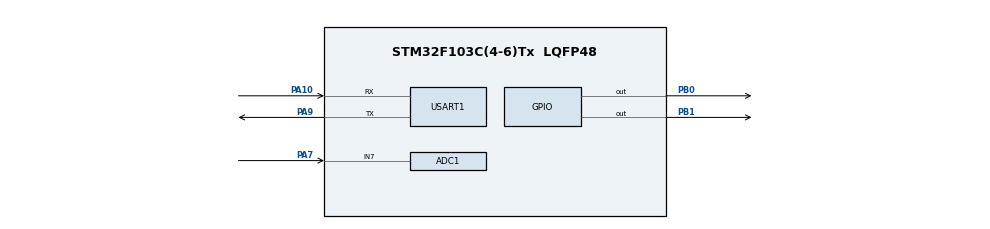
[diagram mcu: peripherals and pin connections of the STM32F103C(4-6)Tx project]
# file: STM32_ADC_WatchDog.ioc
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ADC1.AWD1HighThreshold=4000
ADC1.AWD1ITMode=ENABLE
ADC1.AWD1LowThreshold=500
ADC1.Channel-0\#ChannelRegularConversion=ADC_CHANNEL_7
ADC1.ContinuousConvMode=ENABLE
ADC1.EnableAnalogWatchDog=true
ADC1.NbrOfConversionFlag=1
ADC1.Rank-0\#ChannelRegularConversion=1
ADC1.SamplingTime-0\#ChannelRegularConversion=ADC_SAMPLETIME_1CYCLE_5
ADC1.WatchdogChannel=ADC_CHANNEL_7
ADC1.master=1
Mcu.Family=STM32F1
Mcu.Name=STM32F103C(4-6)Tx
Mcu.Package=LQFP48
NVIC.ADC1_2_IRQn=true\:0\:0\:false\:false\:true\:true\:true
NVIC.PriorityGroup=NVIC_PRIORITYGROUP_4
NVIC.USART1_IRQn=true\:0\:0\:false\:false\:true\:true\:true
PA10.Mode=Asynchronous
PA10.Signal=USART1_RX
PA7.Signal=ADCx_IN7
PA9.Mode=Asynchronous
PA9.Signal=USART1_TX
PB0.Signal=GPIO_Output
PB1.Signal=GPIO_Output
ProjectManager.HeapSize=0x200
ProjectManager.StackSize=0x400
ProjectManager.TargetToolchain=STM32CubeIDE
RCC.APB1Freq_Value=8000000
RCC.APB2Freq_Value=8000000
SH.ADCx_IN7.0=ADC1_IN7,IN7
USART1.VirtualMode=VM_ASYNC
VP_SYS_VS_ND.Mode=No_Debug
board=custom

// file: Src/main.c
/* USER CODE BEGIN Header */
/**
  ******************************************************************************
  * @file           : main.c
  * @brief          : Main program body
  ******************************************************************************
  * @attention
  *
  * <h2><center>&copy; Copyright (c) 2023 STMicroelectronics.
  * All rights reserved.</center></h2>
  *
  * This software component is licensed by ST under BSD 3-Clause license,
  * the "License"; You may not use this file except in compliance with the
  * License. You may obtain a copy of the License at:
  *                        opensource.org/licenses/BSD-3-Clause
  *
  ******************************************************************************
  */
/* USER CODE END Header */

#include "main.h"

ADC_HandleTypeDef hadc1;

UART_HandleTypeDef huart1;

void SystemClock_Config(void);
static void MX_GPIO_Init(void);
static void MX_ADC1_Init(void);
static void MX_USART1_UART_Init(void);

/* USER CODE BEGIN 0 */
uint32_t ADC_VAL = 0;
uint8_t MSG[20];
uint8_t MSG2[50]="ERREUR YOUR ADC VAL IS > 4000 \n\r";
uint8_t MSG3[50]="ERREUR YOUR ADC VAL IS < 500 \n\r";

void HAL_ADC_LevelOutOfWindowCallback(ADC_HandleTypeDef* hadc)
{
  ADC_VAL = HAL_ADC_GetValue(&hadc1);
  if(ADC_VAL>3990) //4000)
  {
    HAL_UART_Transmit_IT(&huart1, MSG2, sizeof(MSG2));
  }
  else
    HAL_UART_Transmit_IT(&huart1, MSG3, sizeof(MSG3));
  HAL_GPIO_WritePin(GPIOB, GPIO_PIN_0, 0);
  HAL_GPIO_WritePin(GPIOB, GPIO_PIN_1, 1);

}
/* USER CODE END 0 */

int main(void)
{

  /* MCU Configuration--------------------------------------------------------*/

  /* Reset of all peripherals, Initializes the Flash interface and the Systick. */
  HAL_Init();

  /* Configure the system clock */
  SystemClock_Config();

  /* Initialize all configured peripherals */
  MX_GPIO_Init();
  MX_ADC1_Init();
  MX_USART1_UART_Init();
  /* USER CODE BEGIN 2 */
if(HAL_ADC_Start(&hadc1)!=HAL_OK)
{
  Error_Handler();
}
  /* USER CODE END 2 */

  /* Infinite loop */
  while (1)
  {

    /* USER CODE BEGIN 3 */
    while(HAL_ADC_PollForConversion(&hadc1, 2)!=HAL_OK)
    {
      Error_Handler();
    }
    ADC_VAL = HAL_ADC_GetValue(&hadc1);
    sprintf(MSG,"ADC VAL = %u\n\r",ADC_VAL);
    HAL_UART_Transmit_IT(&huart1, MSG, sizeof(MSG));
    HAL_GPIO_WritePin(GPIOB, GPIO_PIN_1, 0);
    HAL_GPIO_TogglePin(GPIOB, GPIO_PIN_0);
    HAL_Delay(1000);

  }
  /* USER CODE END 3 */
}

void SystemClock_Config(void)
{
  RCC_OscInitTypeDef RCC_OscInitStruct = {0};
  RCC_ClkInitTypeDef RCC_ClkInitStruct = {0};
  RCC_PeriphCLKInitTypeDef PeriphClkInit = {0};

  /** Initializes the CPU, AHB and APB busses clocks
  */
  RCC_OscInitStruct.OscillatorType = RCC_OSCILLATORTYPE_HSI;
  RCC_OscInitStruct.HSIState = RCC_HSI_ON;
  RCC_OscInitStruct.HSICalibrationValue = RCC_HSICALIBRATION_DEFAULT;
  RCC_OscInitStruct.PLL.PLLState = RCC_PLL_NONE;
  if (HAL_RCC_OscConfig(&RCC_OscInitStruct) != HAL_OK)
  {
    Error_Handler();
  }
  /** Initializes the CPU, AHB and APB busses clocks
  */
  RCC_ClkInitStruct.ClockType = RCC_CLOCKTYPE_HCLK|RCC_CLOCKTYPE_SYSCLK
                              |RCC_CLOCKTYPE_PCLK1|RCC_CLOCKTYPE_PCLK2;
  RCC_ClkInitStruct.SYSCLKSource = RCC_SYSCLKSOURCE_HSI;
  RCC_ClkInitStruct.AHBCLKDivider = RCC_SYSCLK_DIV1;
  RCC_ClkInitStruct.APB1CLKDivider = RCC_HCLK_DIV1;
  RCC_ClkInitStruct.APB2CLKDivider = RCC_HCLK_DIV1;

  if (HAL_RCC_ClockConfig(&RCC_ClkInitStruct, FLASH_LATENCY_0) != HAL_OK)
  {
    Error_Handler();
  }
  PeriphClkInit.PeriphClockSelection = RCC_PERIPHCLK_ADC;
  PeriphClkInit.AdcClockSelection = RCC_ADCPCLK2_DIV2;
  if (HAL_RCCEx_PeriphCLKConfig(&PeriphClkInit) != HAL_OK)
  {
    Error_Handler();
  }
}

static void MX_ADC1_Init(void)
{

  ADC_AnalogWDGConfTypeDef AnalogWDGConfig = {0};
  ADC_ChannelConfTypeDef sConfig = {0};

  /** Common config
  */
  hadc1.Instance = ADC1;
  hadc1.Init.ScanConvMode = ADC_SCAN_DISABLE;
  hadc1.Init.ContinuousConvMode = ENABLE;
  hadc1.Init.DiscontinuousConvMode = DISABLE;
  hadc1.Init.ExternalTrigConv = ADC_SOFTWARE_START;
  hadc1.Init.DataAlign = ADC_DATAALIGN_RIGHT;
  hadc1.Init.NbrOfConversion = 1;
  if (HAL_ADC_Init(&hadc1) != HAL_OK)
  {
    Error_Handler();
  }
  /** Configure Analog WatchDog 1
  */
  AnalogWDGConfig.WatchdogMode = ADC_ANALOGWATCHDOG_SINGLE_REG;
  AnalogWDGConfig.HighThreshold = 4000;
  AnalogWDGConfig.LowThreshold = 500;
  AnalogWDGConfig.Channel = ADC_CHANNEL_7;
  AnalogWDGConfig.ITMode = ENABLE;
  if (HAL_ADC_AnalogWDGConfig(&hadc1, &AnalogWDGConfig) != HAL_OK)
  {
    Error_Handler();
  }
  /** Configure Regular Channel
  */
  sConfig.Channel = ADC_CHANNEL_7;
  sConfig.Rank = ADC_REGULAR_RANK_1;
  sConfig.SamplingTime = ADC_SAMPLETIME_1CYCLE_5;
  if (HAL_ADC_ConfigChannel(&hadc1, &sConfig) != HAL_OK)
  {
    Error_Handler();
  }

}

static void MX_USART1_UART_Init(void)
{

  huart1.Instance = USART1;
  huart1.Init.BaudRate = 115200;
  huart1.Init.WordLength = UART_WORDLENGTH_8B;
  huart1.Init.StopBits = UART_STOPBITS_1;
  huart1.Init.Parity = UART_PARITY_NONE;
  huart1.Init.Mode = UART_MODE_TX_RX;
  huart1.Init.HwFlowCtl = UART_HWCONTROL_NONE;
  huart1.Init.OverSampling = UART_OVERSAMPLING_16;
  if (HAL_UART_Init(&huart1) != HAL_OK)
  {
    Error_Handler();
  }

}

static void MX_GPIO_Init(void)
{
  GPIO_InitTypeDef GPIO_InitStruct = {0};

  /* GPIO Ports Clock Enable */
  __HAL_RCC_GPIOA_CLK_ENABLE();
  __HAL_RCC_GPIOB_CLK_ENABLE();

  /*Configure GPIO pin Output Level */
  HAL_GPIO_WritePin(GPIOB, GPIO_PIN_0|GPIO_PIN_1, GPIO_PIN_RESET);

  /*Configure GPIO pins : PB0 PB1 */
  GPIO_InitStruct.Pin = GPIO_PIN_0|GPIO_PIN_1;
  GPIO_InitStruct.Mode = GPIO_MODE_OUTPUT_PP;
  GPIO_InitStruct.Pull = GPIO_NOPULL;
  GPIO_InitStruct.Speed = GPIO_SPEED_FREQ_LOW;
  HAL_GPIO_Init(GPIOB, &GPIO_InitStruct);

}

void Error_Handler(void)
{
}

/************************ (C) COPYRIGHT STMicroelectronics *****END OF FILE****/
